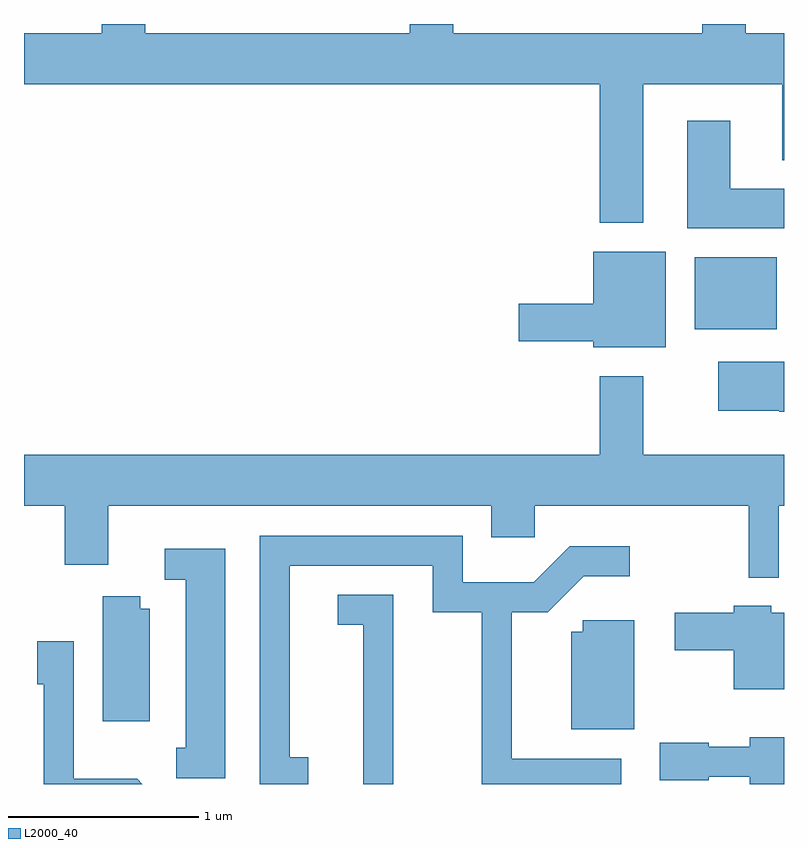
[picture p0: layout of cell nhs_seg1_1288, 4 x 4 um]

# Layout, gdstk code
import gdstk
lib = gdstk.Library(unit=1e-6, precision=1e-09)
def R(c, l, rs):  # rectangles x0, y0, x1, y1
    for r in rs: c.add(gdstk.rectangle(r[:2], r[2:], *l))
def P(c, l, *ps):  # polygons
    for p in ps: c.add(gdstk.Polygon(p, *l))
L2000_40 = (2000, 40)

nhs_seg1_1288 = lib.new_cell('nhs_seg1_1288')
R(nhs_seg1_1288, L2000_40, [(229.141,856.106,229.574,856.484)])
P(nhs_seg1_1288, L2000_40, [(228.869,857.396),(229.601,857.396),(229.601,856.996),(229.611,856.996),(229.611,857.664),(229.409,857.664),(229.409,857.712),(229.181,857.712),(229.181,857.664),(227.869,857.664),(227.869,857.712),(227.641,857.712),(227.641,857.664),(226.249,857.664),(226.249,857.712),(226.021,857.712),(226.021,857.664),(225.611,857.664),(225.611,857.396),(228.641,857.396),(228.641,856.666),(228.869,856.666)],
  [(229.611,856.844),(229.329,856.844),(229.329,857.204),(229.101,857.204),(229.101,856.636),(229.611,856.636)],
  [(228.989,856.514),(228.606,856.514),(228.606,856.239),(228.216,856.239),(228.216,856.041),(228.606,856.041),(228.606,856.011),(228.989,856.011)],
  [(229.611,855.934),(229.266,855.934),(229.266,855.676),(229.585,855.676),(229.585,855.671),(229.611,855.671)],
  [(229.584,855.176),(229.611,855.176),(229.611,855.444),(228.869,855.444),(228.869,855.859),(228.641,855.859),(228.641,855.444),(225.611,855.444),(225.611,855.176),(225.826,855.176),(225.826,854.866),(226.054,854.866),(226.054,855.176),(228.071,855.176),(228.071,855.011),(228.299,855.011),(228.299,855.176),(229.426,855.176),(229.426,854.798),(229.584,854.798)],
  [(227.108,853.854),(227.009,853.854),(227.009,854.861),(227.761,854.861),(227.761,854.616),(228.021,854.616),(228.021,853.712),(228.754,853.712),(228.754,853.844),(228.179,853.844),(228.179,854.616),(228.367,854.616),(228.557,854.806),(228.798,854.806),(228.798,854.964),(228.484,854.964),(228.294,854.774),(227.919,854.774),(227.919,855.019),(226.851,855.019),(226.851,853.712),(227.108,853.712)],
  [(226.669,854.949),(226.353,854.949),(226.353,854.786),(226.461,854.786),(226.461,853.904),(226.413,853.904),(226.413,853.741),(226.669,853.741)],
  [(227.554,854.709),(227.263,854.709),(227.263,854.551),(227.396,854.551),(227.396,853.712),(227.554,853.712)],
  [(226.274,854.634),(226.224,854.634),(226.224,854.699),(226.026,854.699),(226.026,854.041),(226.274,854.041)],
  [(229.611,854.614),(229.544,854.614),(229.544,854.649),(229.346,854.649),(229.346,854.614),(229.036,854.614),(229.036,854.416),(229.346,854.416),(229.346,854.211),(229.611,854.211)],
  [(228.824,854.574),(228.551,854.574),(228.551,854.514),(228.491,854.514),(228.491,854.001),(228.824,854.001)],
  [(226.207,853.739),(225.874,853.739),(225.874,854.464),(225.681,854.464),(225.681,854.236),(225.716,854.236),(225.716,853.712),(226.234,853.712)],
  [(229.611,853.959),(229.431,853.959),(229.431,853.909),(229.214,853.909),(229.214,853.929),(228.956,853.929),(228.956,853.731),(229.214,853.731),(229.214,853.751),(229.431,853.751),(229.431,853.712),(229.611,853.712)])

lib.write_gds('nhs_seg1_1288.gds')
